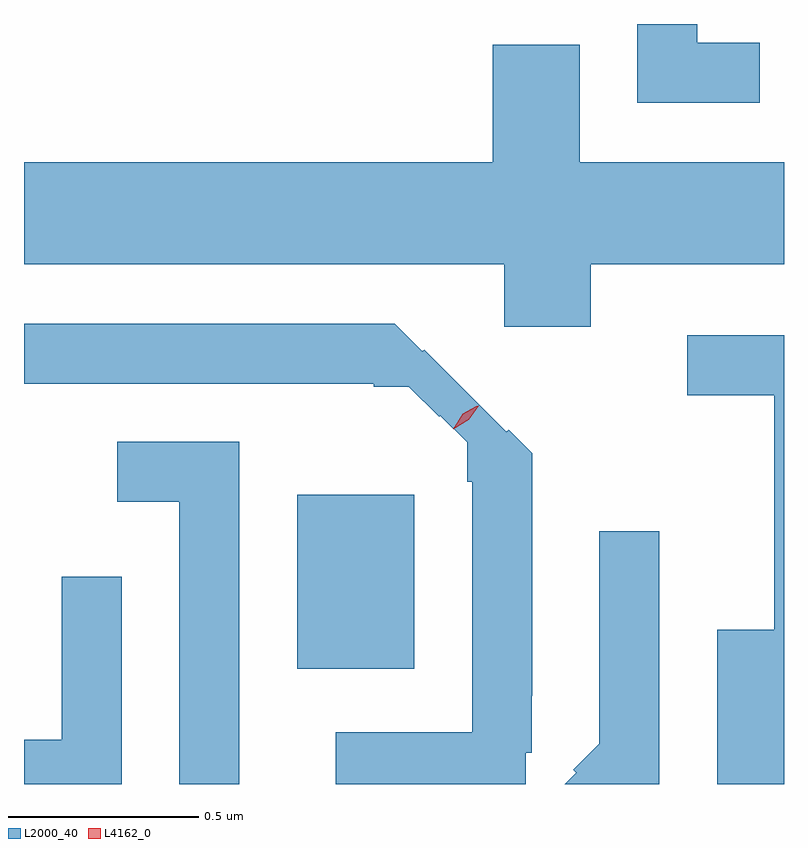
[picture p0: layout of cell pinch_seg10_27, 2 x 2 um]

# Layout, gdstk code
import gdstk
lib = gdstk.Library(unit=1e-6, precision=1e-09)
def R(c, l, rs):  # rectangles x0, y0, x1, y1
    for r in rs: c.add(gdstk.rectangle(r[:2], r[2:], *l))
def P(c, l, *ps):  # polygons
    for p in ps: c.add(gdstk.Polygon(p, *l))
L2000_40 = (2000, 40)
L4162_0 = (4162, 0)

pinch_seg10_27 = lib.new_cell('pinch_seg10_27')
R(pinch_seg10_27, L2000_40, [(607.031,2155.031,607.339,2155.489)])
P(pinch_seg10_27, L2000_40, [(608.248,2156.679),(608.084,2156.679),(608.084,2156.728),(607.926,2156.728),(607.926,2156.521),(608.248,2156.521)],
  [(607.804,2156.096),(608.312,2156.096),(608.312,2156.364),(607.774,2156.364),(607.774,2156.674),(607.546,2156.674),(607.546,2156.364),(606.312,2156.364),(606.312,2156.096),(607.576,2156.096),(607.576,2155.931),(607.804,2155.931)],
  [(607.633,2154.81),(607.648,2154.81),(607.648,2154.96),(607.649,2154.96),(607.649,2155.598),(607.587,2155.66),(607.581,2155.655),(607.365,2155.871),(607.36,2155.867),(607.288,2155.939),(606.312,2155.939),(606.312,2155.781),(607.233,2155.781),(607.233,2155.774),(607.325,2155.774),(607.405,2155.695),(607.407,2155.697),(607.478,2155.627),(607.478,2155.523),(607.491,2155.523),(607.491,2154.864),(607.133,2154.864),(607.133,2154.728),(607.633,2154.728)],
  [(608.312,2155.909),(608.058,2155.909),(608.058,2155.751),(608.286,2155.751),(608.286,2155.134),(608.136,2155.134),(608.136,2154.728),(608.312,2154.728)],
  [(606.879,2155.629),(606.558,2155.629),(606.558,2155.471),(606.721,2155.471),(606.721,2154.728),(606.879,2154.728)],
  [(607.984,2155.393),(607.826,2155.393),(607.826,2154.834),(607.757,2154.765),(607.765,2154.758),(607.735,2154.728),(607.984,2154.728)],
  [(606.569,2155.273),(606.411,2155.273),(606.411,2154.844),(606.312,2154.844),(606.312,2154.728),(606.569,2154.728)])
P(pinch_seg10_27, L4162_0, [(607.442,2155.662),(607.442,2155.663),(607.468,2155.7),(607.508,2155.724),(607.509,2155.724),(607.509,2155.723),(607.482,2155.686),(607.442,2155.662)],
  [(607.445,2155.668),(607.445,2155.668),(607.467,2155.702),(607.502,2155.722),(607.503,2155.722),(607.503,2155.721),(607.481,2155.687),(607.446,2155.668)])

lib.write_gds('pinch_seg10_27.gds')
